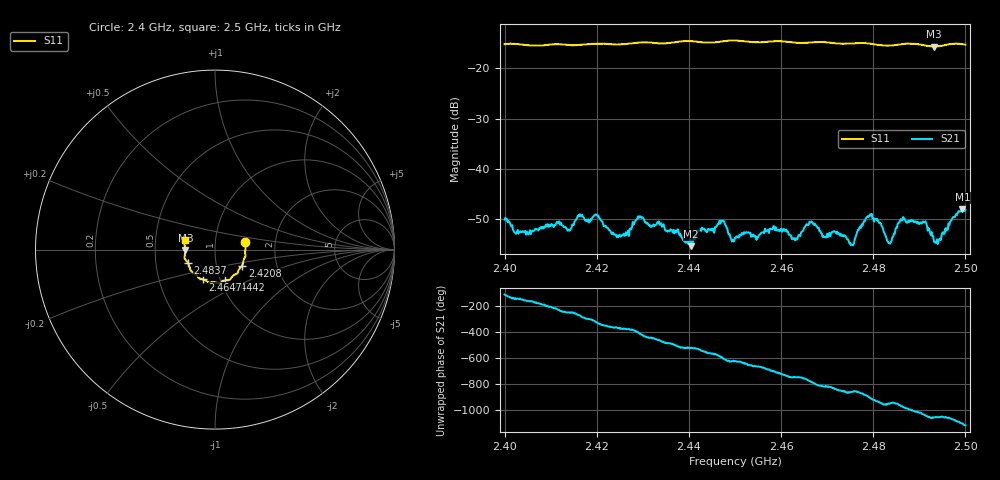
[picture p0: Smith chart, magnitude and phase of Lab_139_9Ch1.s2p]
# Hz S RI R 50
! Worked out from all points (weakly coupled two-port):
!   601 points, 2.4 GHz to 2.5 GHz, reference 50 ohm
!   highest |S21| = -47.98 dB at 2.4993 GHz (marker M1); lowest = -55.3 dB at 2.4405 GHz (marker M2)
!   lowest |S11| = -15.7 dB at 2.4932 GHz (marker M3), VSWR 1.39, Z = 35.9 - j0.122 ohm
!   |S11| at or under -10 dB: start of sweep to end of sweep
!   S12 and S22 are empty: the file has one direction only
!   S11 on the Smith chart (normalised r, x): 2.4 GHz: 1.40, +0.12; 2.4208 GHz: 1.33, -0.24; 2.4442 GHz: 1.05, -0.37; 2.4647 GHz: 0.83, -0.28; 2.4837 GHz: 0.73, -0.11; 2.5 GHz: 0.71, +0.08
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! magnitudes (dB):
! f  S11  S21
! 2.4 GHz  -15.2  -50.0
! 2.4052 GHz  -15.4  -53.0
! 2.4167 GHz  -15.3  -49.4
! 2.4208 GHz  -15.1  -50.0
! 2.4248 GHz  -15.2  -53.1
! 2.4293 GHz  -14.8  -49.4
! 2.4333 GHz  -15.0  -50.7
! 2.4405 GHz  -14.6  -55.3
! 2.4442 GHz  -14.9  -51.9
! 2.4472 GHz  -14.6  -50.2
! 2.45 GHz  -14.5  -53.6
! 2.4647 GHz  -14.9  -52.3
! 2.4667 GHz  -14.8  -50.5
! 2.4753 GHz  -15.1  -55.0
! 2.4792 GHz  -15.1  -49.3
! 2.4833 GHz  -15.5  -54.7
! 2.4837 GHz  -15.5  -54.8
! 2.4863 GHz  -15.2  -50.2
! 2.4912 GHz  -15.4  -50.6
! 2.4932 GHz  -15.7  -54.4
! 2.4993 GHz  -15.2  -48.0
! 2.5 GHz  -15.3  -48.1
